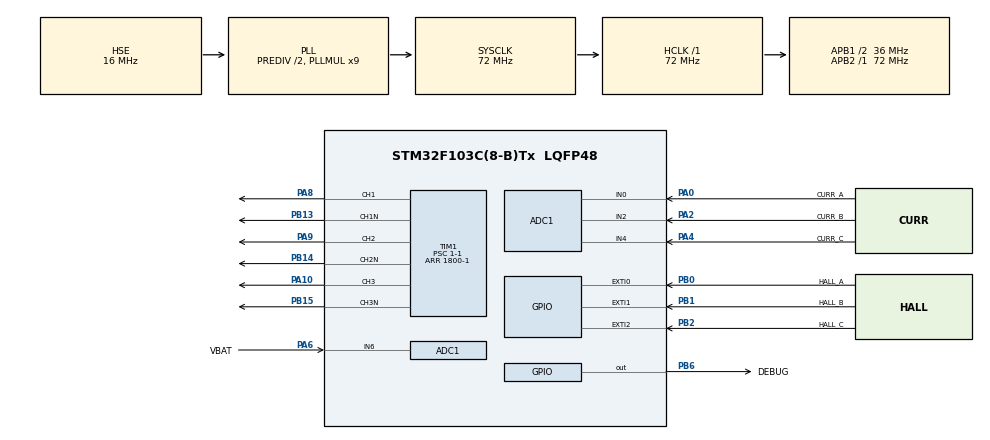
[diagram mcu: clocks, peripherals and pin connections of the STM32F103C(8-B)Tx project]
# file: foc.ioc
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ADC1.Channel-1\#ChannelInjectedConversion=ADC_CHANNEL_0
ADC1.Channel-2\#ChannelInjectedConversion=ADC_CHANNEL_2
ADC1.Channel-3\#ChannelInjectedConversion=ADC_CHANNEL_4
ADC1.Channel-5\#ChannelInjectedConversion=ADC_CHANNEL_6
ADC1.ContinuousConvMode=ENABLE
ADC1.DiscontinuousConvMode=DISABLE
ADC1.EnableInjectedConversion=ENABLE
ADC1.EnableRegularConversion=DISABLE
ADC1.ExternalTrigInjecConv=ADC_EXTERNALTRIGINJECCONV_T1_TRGO
ADC1.InjNumberOfConversion=4
ADC1.InjectedConvMode=None
ADC1.InjectedOffset-1\#ChannelInjectedConversion=0
ADC1.InjectedOffset-2\#ChannelInjectedConversion=0
ADC1.InjectedOffset-3\#ChannelInjectedConversion=0
ADC1.InjectedOffset-5\#ChannelInjectedConversion=0
ADC1.InjectedRank-1\#ChannelInjectedConversion=1
ADC1.InjectedRank-2\#ChannelInjectedConversion=2
ADC1.InjectedRank-3\#ChannelInjectedConversion=3
ADC1.InjectedRank-5\#ChannelInjectedConversion=4
ADC1.SamplingTime-1\#ChannelInjectedConversion=ADC_SAMPLETIME_1CYCLE_5
ADC1.SamplingTime-2\#ChannelInjectedConversion=ADC_SAMPLETIME_1CYCLE_5
ADC1.SamplingTime-3\#ChannelInjectedConversion=ADC_SAMPLETIME_1CYCLE_5
ADC1.SamplingTime-5\#ChannelInjectedConversion=ADC_SAMPLETIME_1CYCLE_5
ADC1.master=1
Mcu.Family=STM32F1
Mcu.Name=STM32F103C(8-B)Tx
Mcu.Package=LQFP48
NVIC.ADC1_2_IRQn=true\:0\:0\:false\:false\:true\:true\:true\:true
NVIC.EXTI0_IRQn=true\:0\:0\:false\:false\:true\:true\:true\:true
NVIC.EXTI1_IRQn=true\:0\:0\:false\:false\:true\:true\:true\:true
NVIC.EXTI2_IRQn=true\:0\:0\:false\:false\:true\:true\:true\:true
NVIC.PriorityGroup=NVIC_PRIORITYGROUP_4
NVIC.TIM1_CC_IRQn=true\:0\:0\:false\:false\:true\:true\:true\:true
PA0-WKUP.GPIO_Label=CURR_A
PA0-WKUP.Signal=ADCx_IN0
PA10.Signal=S_TIM1_CH3
PA13.Mode=Trace_Asynchronous_SW
PA13.Signal=SYS_JTMS-SWDIO
PA14.Mode=Trace_Asynchronous_SW
PA14.Signal=SYS_JTCK-SWCLK
PA2.GPIO_Label=CURR_B
PA2.Signal=ADCx_IN2
PA4.GPIO_Label=CURR_C
PA4.Signal=ADCx_IN4
PA6.GPIO_Label=VBAT
PA6.Signal=ADCx_IN6
PA8.Signal=S_TIM1_CH1
PA9.Signal=S_TIM1_CH2
PB0.GPIO_Label=HALL_A
PB0.GPIO_ModeDefaultEXTI=GPIO_MODE_IT_FALLING
PB0.GPIO_PuPd=GPIO_PULLUP
PB0.Signal=GPXTI0
PB1.GPIO_Label=HALL_B
PB1.GPIO_ModeDefaultEXTI=GPIO_MODE_IT_FALLING
PB1.GPIO_PuPd=GPIO_PULLUP
PB1.Signal=GPXTI1
PB13.Mode=PWM Generation1 CH1 CH1N
PB13.Signal=TIM1_CH1N
PB14.Mode=PWM Generation2 CH2 CH2N
PB14.Signal=TIM1_CH2N
PB15.Mode=PWM Generation3 CH3 CH3N
PB15.Signal=TIM1_CH3N
PB2.GPIO_Label=HALL_C
PB2.GPIO_ModeDefaultEXTI=GPIO_MODE_IT_FALLING
PB2.GPIO_PuPd=GPIO_PULLUP
PB2.Signal=GPXTI2
PB3.Mode=Trace_Asynchronous_SW
PB3.Signal=SYS_JTDO-TRACESWO
PB6.GPIO_Label=DEBUG
PB6.Signal=GPIO_Output
PD0-OSC_IN.Mode=HSE-External-Oscillator
PD0-OSC_IN.Signal=RCC_OSC_IN
PD1-OSC_OUT.Mode=HSE-External-Oscillator
PD1-OSC_OUT.Signal=RCC_OSC_OUT
ProjectManager.HeapSize=0x200
ProjectManager.StackSize=0x400
ProjectManager.TargetToolchain=CMake
RCC.ADCPresc=RCC_ADCPCLK2_DIV6
RCC.AHBFreq_Value=72000000
RCC.APB1CLKDivider=RCC_HCLK_DIV2
RCC.APB1Freq_Value=36000000
RCC.APB1TimFreq_Value=72000000
RCC.APB2Freq_Value=72000000
RCC.APB2TimFreq_Value=72000000
RCC.HCLKFreq_Value=72000000
RCC.HSEDivPLL=RCC_HSE_PREDIV_DIV2
RCC.HSE_VALUE=16000000
RCC.PLLMUL=RCC_PLL_MUL9
RCC.PLLSourceVirtual=RCC_PLLSOURCE_HSE
RCC.SYSCLKFreq_VALUE=72000000
RCC.SYSCLKSource=RCC_SYSCLKSOURCE_PLLCLK
RCC.USBFreq_Value=72000000
SH.ADCx_IN0.0=ADC1_IN0,IN0
SH.ADCx_IN2.0=ADC1_IN2,IN2
SH.ADCx_IN4.0=ADC1_IN4,IN4
SH.ADCx_IN6.0=ADC1_IN6,IN6
SH.S_TIM1_CH1.0=TIM1_CH1,PWM Generation1 CH1 CH1N
SH.S_TIM1_CH2.0=TIM1_CH2,PWM Generation2 CH2 CH2N
SH.S_TIM1_CH3.0=TIM1_CH3,PWM Generation3 CH3 CH3N
TIM1.Channel-Output\ Compare4\ No\ Output=TIM_CHANNEL_4
TIM1.Channel-PWM\ Generation1\ CH1\ CH1N=TIM_CHANNEL_1
TIM1.Channel-PWM\ Generation2\ CH2\ CH2N=TIM_CHANNEL_2
TIM1.Channel-PWM\ Generation3\ CH3\ CH3N=TIM_CHANNEL_3
TIM1.CounterMode=TIM_COUNTERMODE_CENTERALIGNED3
TIM1.DeadTime=30
TIM1.OCMode_4=TIM_OCMODE_TOGGLE
TIM1.OCMode_PWM-PWM\ Generation1\ CH1\ CH1N=TIM_OCMODE_PWM1
TIM1.Period=1800-1
TIM1.Prescaler=1-1
TIM1.TIM_MasterOutputTrigger=TIM_TRGO_OC4REF
TIM3.Prescaler=10-1
VP_TIM1_VS_ClockSourceINT.Mode=Internal
VP_TIM1_VS_no_output4.Mode=Output Compare4 No Output
VP_TIM3_VS_ClockSourceINT.Mode=Internal
board=custom

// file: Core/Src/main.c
/* USER CODE BEGIN Header */
/**
 ******************************************************************************
 * @file           : main.c
 * @brief          : Main program body
 ******************************************************************************
 * @attention
 *
 * Copyright (c) 2025 STMicroelectronics.
 * All rights reserved.
 *
 * This software is licensed under terms that can be found in the LICENSE file
 * in the root directory of this software component.
 * If no LICENSE file comes with this software, it is provided AS-IS.
 *
 ******************************************************************************
 */
/* USER CODE END Header */
#include "main.h"
#include "adc.h"
#include "tim.h"
#include "gpio.h"

/* USER CODE BEGIN Includes */
#include <stdio.h>
#include "foc.h"
#include <string.h>
#include <inttypes.h>
#include "arm_math.h"
/* USER CODE END Includes */

/* USER CODE BEGIN PD */
#define LOG 1

q31_t demo;
/* USER CODE END PD */

void SystemClock_Config(void);

/* USER CODE BEGIN 0 */

Logger buffer;
Logger cache;

typedef struct
{
  volatile uint32_t last_time;
  volatile float omega;
  volatile float last_angle;
} HALL;
HALL shall;

void HAL_GPIO_EXTI_Callback(uint16_t GPIO_Pin)
{
  if (!shall.last_time)
  {
    // first time
    shall.last_time = TIM3->CNT;
    return;
  }
  uint8_t hall_state = (HAL_GPIO_ReadPin(HALL_A_GPIO_Port, HALL_A_Pin) << 2) |
                       (HAL_GPIO_ReadPin(HALL_B_GPIO_Port, HALL_B_Pin) << 1) |
                       (HAL_GPIO_ReadPin(HALL_C_GPIO_Port, HALL_C_Pin) << 0);
  float angle = hall_to_rad[hall_state];
  shall.last_angle = angle;

  uint32_t now_ticks = TIM3->CNT;
  float dt = (uint16_t)(now_ticks - shall.last_time) * HALL_TICK;
  shall.last_time = now_ticks;
  float omega = 1.0472 / dt; // rad/s
  shall.omega = omega;
}

float getAngle()
{
  uint32_t now_ticks = TIM3->CNT;
  float dt = (uint16_t)(now_ticks - shall.last_time) * HALL_TICK;
  float theta = buffer.theta = /*shall.last_angle + */ shall.omega * dt; // rad
  return 0;
}

void HAL_ADCEx_InjectedConvCpltCallback(ADC_HandleTypeDef *hadc)
{
  if (hadc->Instance == ADC1)
  {
    HAL_GPIO_WritePin(DEBUG_GPIO_Port, DEBUG_Pin, GPIO_PIN_SET);
    /* GET PHASE CURRENTS AND VBAT */
    /*
    // read values directly from registers to save 2.3us

    uint32_t adc_value1 = buffer.adc1 = hadc->Instance->JDR1; // HAL_ADCEx_InjectedGetValue(hadc, ADC_INJECTED_RANK_1)
    uint32_t adc_value2 = buffer.adc2 = hadc->Instance->JDR2; // HAL_ADCEx_InjectedGetValue(hadc, ADC_INJECTED_RANK_2)
    uint32_t adc_value3 = buffer.adc3 = hadc->Instance->JDR3; // HAL_ADCEx_InjectedGetValue(hadc, ADC_INJECTED_RANK_3)
    uint32_t adc_value4 = hadc->Instance->JDR4;               // HAL_ADCEx_InjectedGetValue(hadc, ADC_INJECTED_RANK_4)
    // instead of /24.0f we *1/24.0f to save 5us
    float curr_a = ((int32_t)adc_value1 - 1982.94948f) * 0.043365131f;
    // float curr_b = ((int32_t)adc_value2 - 1978.51862f) * 0.045875989f;
    float curr_c = ((int32_t)adc_value3 - 1980.93166f) * 0.044918113f;
    float curr_b = (curr_a + curr_c) * -1.0f;

    buffer.curr_a = curr_a;
    buffer.curr_b = curr_b;
    buffer.curr_c = curr_c;

    float vbat = buffer.vbat = adc_value4 * 0.025f; //*1/40 instead of /40 to save time

    float theta = getAngle();
    // 6us until here

    // foc_update(10.0, curr_a, curr_b, curr_c, theta);

    */
    openloop(20);

    HAL_GPIO_WritePin(DEBUG_GPIO_Port, DEBUG_Pin, GPIO_PIN_RESET);
  }
}

/* USER CODE END 0 */

int main(void)
{

  /* USER CODE BEGIN 1 */
  // Enable TRC (Trace)
  CoreDebug->DEMCR |= CoreDebug_DEMCR_TRCENA_Msk;
  // Reset the cycle counter
  DWT->CYCCNT = 0;
  // Enable the cycle counter
  DWT->CTRL |= DWT_CTRL_CYCCNTENA_Msk;
  /* USER CODE END 1 */

  /* MCU Configuration--------------------------------------------------------*/

  /* Reset of all peripherals, Initializes the Flash interface and the Systick. */
  HAL_Init();

  /* Configure the system clock */
  SystemClock_Config();

  /* Initialize all configured peripherals */
  MX_GPIO_Init();
  MX_ADC1_Init();
  MX_TIM1_Init();
  MX_TIM3_Init();
  /* USER CODE BEGIN 2 */
  foc_init();
  /* USER CODE END 2 */

  /* Infinite loop */
  /* USER CODE BEGIN WHILE */

  while (1)
  {
    cache = buffer;
    if (LOG)
    {
      /*
      printf("%.2f,", cache.curr_a);
      printf("%.2f,", cache.curr_b);
      printf("%.2f,", cache.curr_c);
      printf("%lu,", cache.va);
      printf("%lu,", cache.vb);
      printf("%lu,", cache.vc);
      printf("%.2f,", cache.alpha);
      printf("%.2f,", cache.beta);
      printf("%.2f,", cache.vbat);
      */
      printf("%.2f", cache.theta);
      printf("\n");
    }
    /*
    printf("%.2f,", cache.curr_a);
    printf("%.2f,", cache.curr_b);
    printf("%.2f\n", cache.curr_c);
    printf("%lu,", cache.adc1);
    printf("%lu,", cache.adc2);
    printf("%lu\n", cache.adc3);
    */

    /* USER CODE END WHILE */

  }
}

void SystemClock_Config(void)
{
  RCC_OscInitTypeDef RCC_OscInitStruct = {0};
  RCC_ClkInitTypeDef RCC_ClkInitStruct = {0};
  RCC_PeriphCLKInitTypeDef PeriphClkInit = {0};

  /** Initializes the RCC Oscillators according to the specified parameters
   * in the RCC_OscInitTypeDef structure.
   */
  RCC_OscInitStruct.OscillatorType = RCC_OSCILLATORTYPE_HSE;
  RCC_OscInitStruct.HSEState = RCC_HSE_ON;
  RCC_OscInitStruct.HSEPredivValue = RCC_HSE_PREDIV_DIV2;
  RCC_OscInitStruct.HSIState = RCC_HSI_ON;
  RCC_OscInitStruct.PLL.PLLState = RCC_PLL_ON;
  RCC_OscInitStruct.PLL.PLLSource = RCC_PLLSOURCE_HSE;
  RCC_OscInitStruct.PLL.PLLMUL = RCC_PLL_MUL9;
  if (HAL_RCC_OscConfig(&RCC_OscInitStruct) != HAL_OK)
  {
    Error_Handler();
  }

  /** Initializes the CPU, AHB and APB buses clocks
   */
  RCC_ClkInitStruct.ClockType = RCC_CLOCKTYPE_HCLK | RCC_CLOCKTYPE_SYSCLK | RCC_CLOCKTYPE_PCLK1 | RCC_CLOCKTYPE_PCLK2;
  RCC_ClkInitStruct.SYSCLKSource = RCC_SYSCLKSOURCE_PLLCLK;
  RCC_ClkInitStruct.AHBCLKDivider = RCC_SYSCLK_DIV1;
  RCC_ClkInitStruct.APB1CLKDivider = RCC_HCLK_DIV2;
  RCC_ClkInitStruct.APB2CLKDivider = RCC_HCLK_DIV1;

  if (HAL_RCC_ClockConfig(&RCC_ClkInitStruct, FLASH_LATENCY_2) != HAL_OK)
  {
    Error_Handler();
  }
  PeriphClkInit.PeriphClockSelection = RCC_PERIPHCLK_ADC;
  PeriphClkInit.AdcClockSelection = RCC_ADCPCLK2_DIV6;
  if (HAL_RCCEx_PeriphCLKConfig(&PeriphClkInit) != HAL_OK)
  {
    Error_Handler();
  }
}

/* USER CODE BEGIN 4 */
int _write(int file, char *ptr, int len)
{
  for (int i = 0; i < len; i++)
  {
    ITM_SendChar((*ptr++)); // send each character via ITM
  }
  return len;
}
/* USER CODE END 4 */

void Error_Handler(void)
{
  __disable_irq();
  while (1)
  {
  }
}
